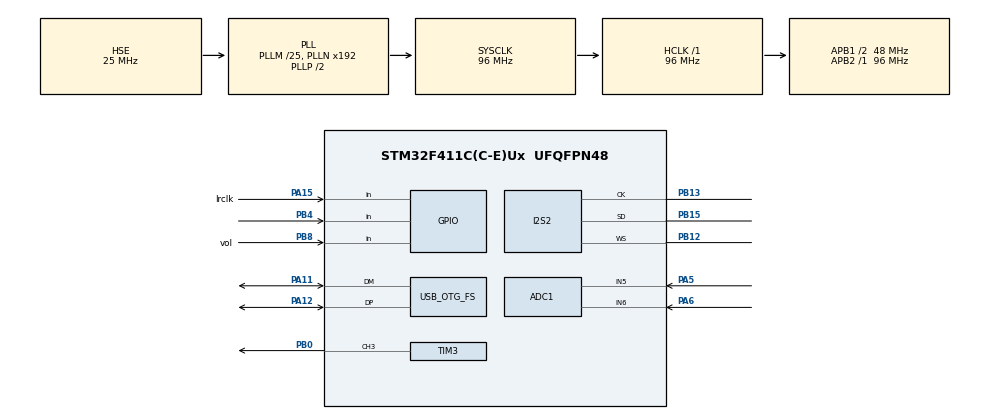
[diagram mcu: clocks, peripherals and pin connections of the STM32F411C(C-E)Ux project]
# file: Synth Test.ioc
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ADC1.Channel-10\#ChannelRegularConversion=ADC_CHANNEL_6
ADC1.Channel-8\#ChannelRegularConversion=ADC_CHANNEL_5
ADC1.ClockPrescaler=ADC_CLOCK_SYNC_PCLK_DIV4
ADC1.ContinuousConvMode=DISABLE
ADC1.DMAContinuousRequests=ENABLE
ADC1.DataAlign=ADC_DATAALIGN_RIGHT
ADC1.EOCSelection=ADC_EOC_SINGLE_CONV
ADC1.ExternalTrigConv=ADC_EXTERNALTRIGCONV_T2_TRGO
ADC1.NbrOfConversion=2
ADC1.NbrOfConversionFlag=1
ADC1.Rank-10\#ChannelRegularConversion=2
ADC1.Rank-8\#ChannelRegularConversion=1
ADC1.SamplingTime-10\#ChannelRegularConversion=ADC_SAMPLETIME_15CYCLES
ADC1.SamplingTime-8\#ChannelRegularConversion=ADC_SAMPLETIME_15CYCLES
ADC1.ScanConvMode=ENABLE
ADC1.master=1
Dma.ADC1.2.Direction=DMA_PERIPH_TO_MEMORY
Dma.ADC1.2.FIFOMode=DMA_FIFOMODE_DISABLE
Dma.ADC1.2.Instance=DMA2_Stream0
Dma.ADC1.2.MemDataAlignment=DMA_MDATAALIGN_HALFWORD
Dma.ADC1.2.MemInc=DMA_MINC_ENABLE
Dma.ADC1.2.Mode=DMA_CIRCULAR
Dma.ADC1.2.PeriphDataAlignment=DMA_PDATAALIGN_HALFWORD
Dma.ADC1.2.PeriphInc=DMA_PINC_DISABLE
Dma.ADC1.2.Priority=DMA_PRIORITY_LOW
Dma.Request0=SPI2_TX
Dma.Request1=TIM3_CH3
Dma.Request2=ADC1
Dma.SPI2_TX.0.Direction=DMA_MEMORY_TO_PERIPH
Dma.SPI2_TX.0.FIFOMode=DMA_FIFOMODE_DISABLE
Dma.SPI2_TX.0.Instance=DMA1_Stream4
Dma.SPI2_TX.0.MemDataAlignment=DMA_MDATAALIGN_HALFWORD
Dma.SPI2_TX.0.MemInc=DMA_MINC_ENABLE
Dma.SPI2_TX.0.Mode=DMA_CIRCULAR
Dma.SPI2_TX.0.PeriphDataAlignment=DMA_PDATAALIGN_HALFWORD
Dma.SPI2_TX.0.PeriphInc=DMA_PINC_DISABLE
Dma.SPI2_TX.0.Priority=DMA_PRIORITY_VERY_HIGH
Dma.TIM3_CH3.1.Direction=DMA_MEMORY_TO_PERIPH
Dma.TIM3_CH3.1.FIFOMode=DMA_FIFOMODE_DISABLE
Dma.TIM3_CH3.1.Instance=DMA1_Stream7
Dma.TIM3_CH3.1.MemDataAlignment=DMA_MDATAALIGN_HALFWORD
Dma.TIM3_CH3.1.MemInc=DMA_MINC_ENABLE
Dma.TIM3_CH3.1.Mode=DMA_CIRCULAR
Dma.TIM3_CH3.1.PeriphDataAlignment=DMA_PDATAALIGN_HALFWORD
Dma.TIM3_CH3.1.PeriphInc=DMA_PINC_DISABLE
Dma.TIM3_CH3.1.Priority=DMA_PRIORITY_HIGH
I2S2.AudioFreq=I2S_AUDIOFREQ_48K
I2S2.ErrorAudioFreq=-0.17 %
I2S2.FullDuplexMode=I2S_FULLDUPLEXMODE_DISABLE
I2S2.Instance=SPI$Index
I2S2.RealAudioFreq=47.916 KHz
I2S2.VirtualMode=I2S_MODE_MASTER
Mcu.Family=STM32F4
Mcu.Name=STM32F411C(C-E)Ux
Mcu.Package=UFQFPN48
NVIC.DMA1_Stream4_IRQn=true\:0\:0\:false\:false\:true\:false\:true\:true
NVIC.DMA1_Stream7_IRQn=true\:0\:0\:false\:false\:true\:false\:true\:true
NVIC.DMA2_Stream0_IRQn=true\:0\:0\:false\:false\:true\:false\:true\:true
NVIC.OTG_FS_IRQn=true\:0\:0\:false\:false\:true\:false\:true\:true
NVIC.PriorityGroup=NVIC_PRIORITYGROUP_4
PA11.Mode=Device_Only
PA11.Signal=USB_OTG_FS_DM
PA12.Mode=Device_Only
PA12.Signal=USB_OTG_FS_DP
PA15.GPIO_Label=lrclk
PA15.Signal=GPIO_Input
PA5.Signal=ADCx_IN5
PA6.Signal=ADCx_IN6
PB0.Signal=S_TIM3_CH3
PB12.Mode=Half_Duplex_Master
PB12.Signal=I2S2_WS
PB13.Mode=Half_Duplex_Master
PB13.Signal=I2S2_CK
PB15.Mode=Half_Duplex_Master
PB15.Signal=I2S2_SD
PB4.GPIO_PuPd=GPIO_PULLDOWN
PB4.Signal=GPIO_Input
PB8.GPIO_Label=vol
PB8.GPIO_PuPd=GPIO_PULLUP
PB8.Signal=GPIO_Input
PH0\ -\ OSC_IN.Mode=HSE-External-Oscillator
PH0\ -\ OSC_IN.Signal=RCC_OSC_IN
PH1\ -\ OSC_OUT.Mode=HSE-External-Oscillator
PH1\ -\ OSC_OUT.Signal=RCC_OSC_OUT
ProjectManager.HeapSize=0x1000
ProjectManager.StackSize=0x800
ProjectManager.TargetToolchain=STM32CubeIDE
RCC.48MHZClocksFreq_Value=48000000
RCC.AHBFreq_Value=96000000
RCC.APB1CLKDivider=RCC_HCLK_DIV2
RCC.APB1Freq_Value=48000000
RCC.APB1TimFreq_Value=96000000
RCC.APB2Freq_Value=96000000
RCC.APB2TimFreq_Value=96000000
RCC.CortexFreq_Value=96000000
RCC.HCLKFreq_Value=96000000
RCC.HSE_VALUE=25000000
RCC.HSI_VALUE=16000000
RCC.LSE_VALUE=32768
RCC.PLLI2SM=12
RCC.PLLI2SN=184
RCC.PLLM=25
RCC.SYSCLKFreq_VALUE=96000000
RCC.SYSCLKSource=RCC_SYSCLKSOURCE_PLLCLK
RCC.VCOOutputFreq_Value=192000000
SH.ADCx_IN5.0=ADC1_IN5,IN5
SH.ADCx_IN6.0=ADC1_IN6,IN6
SH.S_TIM3_CH3.0=TIM3_CH3,PWM Generation3 CH3
TIM2.AutoReloadPreload=TIM_AUTORELOAD_PRELOAD_ENABLE
TIM2.Period=59999
TIM2.Prescaler=7
TIM2.TIM_MasterOutputTrigger=TIM_TRGO_UPDATE
TIM3.AutoReloadPreload=TIM_AUTORELOAD_PRELOAD_ENABLE
TIM3.Channel-PWM\ Generation3\ CH3=TIM_CHANNEL_3
TIM3.Period=1999
TIM3.TIM_MasterOutputTrigger=TIM_TRGO_RESET
USB_DEVICE.CLASS_NAME_FS=CDC
USB_DEVICE.VirtualMode=Cdc
USB_DEVICE.VirtualModeFS=Cdc_FS
USB_OTG_FS.VirtualMode=Device_Only
VP_TIM2_VS_ClockSourceINT.Mode=Internal
VP_TIM3_VS_ClockSourceINT.Mode=Internal
VP_USB_DEVICE_VS_USB_DEVICE_CDC_FS.Mode=CDC_FS
board=custom

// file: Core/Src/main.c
/* USER CODE BEGIN Header */
/**
  ******************************************************************************
  * @file           : main.c
  * @brief          : Main program body
  ******************************************************************************
  * @attention
  *
  * Copyright (c) 2026 STMicroelectronics.
  * All rights reserved.
  *
  * This software is licensed under terms that can be found in the LICENSE file
  * in the root directory of this software component.
  * If no LICENSE file comes with this software, it is provided AS-IS.
  *
  ******************************************************************************
  */
/* USER CODE END Header */
#include "main.h"
#include "usb_device.h"

/* USER CODE BEGIN Includes */

#include <stdio.h>
#include <math.h>

#include "sine_table.h"
#include "saw_table.h"
#include "square_table.h"
#include "triangle_table.h"

#include "stm32f4xx_hal.h"
#include "usbd_cdc_if.h"

/* USER CODE END Includes */

/* USER CODE BEGIN PD */

#define PI 3.141592653589793
#define TAU 6.28318530717958647692
#define MAX_16_BIT 65535
#define MAX_16_BIT_SIDE 32767
#define MAX_32_BIT 4294967295
#define SAMPLE_FREQ 48000

#define DMA_BUFFER_SAMPLES 256
#define DMA_BUFFER_SIZE 2 * DMA_BUFFER_SAMPLES //2* accounts for double buffering

#define ADC_SIZE 2

#define A4 440
/* USER CODE END PD */

ADC_HandleTypeDef hadc1;
DMA_HandleTypeDef hdma_adc1;

I2S_HandleTypeDef hi2s2;
DMA_HandleTypeDef hdma_spi2_tx;

TIM_HandleTypeDef htim2;
TIM_HandleTypeDef htim3;
DMA_HandleTypeDef hdma_tim3_ch3;

/* USER CODE BEGIN PV */

//dma buffer used for pwm output
 uint16_t pwm_buffer[DMA_BUFFER_SIZE];

//dma buffer used for i2s output
int16_t i2s_buffer[2*DMA_BUFFER_SIZE]; //2* for left and right channels
uint8_t dma_buffer_processing = 0;
uint32_t dma_overflow = 0;

volatile float frequency = 220;
float frequency_range = 0.5; //frequency range is between the double and the half of the base frequency (A4)
float phase = 0;
float phase_change = 0;

float angle = 0;

//master volume
volatile float volume = 1;

uint16_t wavetable_index = 0; //sine table index

//potentiometer = [0], piezo = [1]
volatile uint16_t ADC_buffer[ADC_SIZE] = {0}; //ADC DMA readings go into this buffer.
volatile uint8_t ADC_id = 0;

volatile uint16_t pot_buffer[5] = {0}; //stores pot values for averaging
volatile uint8_t pot_id = 0;

volatile uint16_t piezo_buffer[5] = {0}; //stores piezo values for averaging
volatile uint8_t piezo_id = 0;

const uint8_t* wavetable_buffer[4] = {sin2048, tri2048, square2048, saw2048}; //allows for swapping between wave tables
uint8_t wavetable_id = 0;

uint32_t ADC_channels[ADC_SIZE] = {ADC_CHANNEL_5, ADC_CHANNEL_6};
ADC_ChannelConfTypeDef ADC_CH_Cfg = {0};

//used for button debouncing
uint32_t SysTicks = 0;
uint32_t T1 = 0, T2 = 0;
uint16_t Btn1_States = 0;
uint8_t TimeInterval = 3;

/* USER CODE END PV */

void SystemClock_Config(void);
static void MX_GPIO_Init(void);
static void MX_DMA_Init(void);
static void MX_I2S2_Init(void);
static void MX_TIM3_Init(void);
static void MX_ADC1_Init(void);
static void MX_TIM2_Init(void);

/* USER CODE BEGIN 0 */

int _write(int file, char *ptr, int len) {
    // Send data over USB CDC
    CDC_Transmit_FS((uint8_t*)ptr, len);

    // Optional: Add a brief delay to prevent buffer overflow on rapid prints
    HAL_Delay(1);

    return len;
}

//used for simple mean average of adc buffers
uint16_t adc_average(uint16_t* buffer, uint8_t buffer_size){

	float total = 0;
	for(int i = 0; i<buffer_size; i++){
		total += (float)buffer[i];
	}
	total = total/buffer_size;
	return total;
}

//updates the step size of phase. turns frequency input into step size.
void update_phase_change(){
	float x = (frequency/(float)SAMPLE_FREQ);
	phase_change = ( x*TAU);
}

//change volume based on piezo input
void update_volume(){
	float volAvg = (float)adc_average((uint16_t*)piezo_buffer, 5);
	volume = volAvg/4096.0;
}

//calculates new frequency value based on the pot value
void update_frequency(){

	//average 5 pot values
	float potAvg = adc_average((uint16_t*)pot_buffer, 5)/4096.0; //between 0 and 1

	//this value outputs a value between the frequency range and the reciprocal of the frequency range. allows for doubling and halving of frequency range
	float range = potAvg*frequency_range - (potAvg -1)*(1/frequency_range);

	frequency = (float)A4*range;

}

//called to update frequency, phase change, and volume of generated output
void audio_update(){
	update_frequency();
	update_phase_change();
	update_volume();
}

/*
 *THIS IS HOW PWM AND TIMERS WORK AND HOW TO CHOOSE VALUES
 *
 * There is a tradeoff between high duty cycle resolution and high pwm frequency.
 * ARR basically splits up each pwm period into however many discrete steps, which controls duty resolution
 * system and timer clock is 96MHz. ARR is incremented each clock cycle.
 * this means that the length of a pwm frequency period is ~ system clock/ARR
 * therefore increasing ARR gives more duty resolution, but makes a pwm period take longer.
 *
 * ARR = 2047, gives carrier frequency of ~46k
 * duty = CRR/(ARR+1), ARR gives duty resolution of 11 bits (2047 steps).
 *
 * duty can be between 0 and 2047. dma_buffer stores the 16 bit output values.
 *
 */

//this function generates values for the pwm_buffer, which is fed to the DMA.
//Using a double buffered approach, so pwm_buffer input is only one half of the actual pwm_buffer
//pwm output is an unsigned 32 bit int.
void process_buffer_pwm(uint16_t *pwm_buffer){
	dma_buffer_processing = 1;

	//iterate through half the buffer
	for(int i = 0; i <DMA_BUFFER_SIZE/2; i++){

		//wavetable_index = (uint16_t)(sizeof(square2048)-1)*((float)phase/(float)TAU); //phase/tau returns value between 0 and 1
		wavetable_index = (uint16_t)(2047)*((float)phase/(float)TAU); //phase/tau returns value between 0 and 1

		const uint8_t* cur_wavetable = wavetable_buffer[wavetable_id]; //changes between wavetables

		float cur_sine = (float)cur_wavetable[wavetable_index]/255; //sine as a float value 0 to 1. sine_table stored as uint8_t instead of float as cheaper to store

		//pwm duty cycle is from 1-2048. pwm_buffer values go to the CRR of the timer, which must be <= the ARR, which in this case is 2048.

		uint16_t buffer_out = (uint16_t)(volume*cur_sine*2048.0f);

		pwm_buffer[i] = buffer_out;

		phase += phase_change;
		if(phase >TAU){
			phase -=TAU;
		}
	}

	dma_buffer_processing = 0;
}

//same process as for pwm buffer, just formatted for i2s
void process_buffer_i2s(int16_t*i2s_buffer){
	dma_buffer_processing = 1;

	//left and right channels
	for(int i = 0; i < DMA_BUFFER_SAMPLES; i+=2){

		wavetable_index = (uint16_t)sizeof(sin2048)*(phase/TAU);

		float cur_sine = ((float)sin2048[wavetable_index] - 127)/128; //sine table is 0 to 255, converts to -1 to 1.

		int16_t buffer_out = (volume*cur_sine)*(float)MAX_16_BIT_SIDE; //converts to 16 bit int

		i2s_buffer[i] = buffer_out;
		i2s_buffer[i+1] = 0;//right channel not needed, mono output. I2S requires 2 channels

		phase += phase_change;
		if(phase > TAU){
			phase -= TAU;
		}

	}

	dma_buffer_processing = 0;
}

////// I2S Callback

//double buffered output
//once DMA buffer is completed, begin processing new second half while first half transmitting
void HAL_I2S_TxCpltCallback(I2S_HandleTypeDef *hi2s){
	if(dma_buffer_processing){
		++dma_overflow;
	}
	else{
		process_buffer_i2s(&i2s_buffer[DMA_BUFFER_SIZE]); //DMA_BUFFER_SIZE is halfway through i2s buffer, i2s buffer is 2*DMA_BUFFER_SIZE long
	}
}

void HAL_I2S_TxHalfCpltCallback(I2S_HandleTypeDef *hi2s) {
	if(dma_buffer_processing){
			++dma_overflow;
		}
		else{
			process_buffer_i2s(&i2s_buffer[0]);
		}
}

/////  PWM Callback

//double buffered output
//once DMA buffer is completed, begin processing new second half while first half transmitting
void HAL_TIM_PWM_PulseFinishedCallback(TIM_HandleTypeDef *htim3){
	if(dma_buffer_processing){
		++dma_overflow;
	}
	else{
		process_buffer_pwm(&pwm_buffer[DMA_BUFFER_SIZE/2]); //halfway through buffer
	}
}

void HAL_TIM_PWM_PulseFinishedHalfCpltCallback(TIM_HandleTypeDef *htim3) {
	if(dma_buffer_processing){
			++dma_overflow;
	}
	else{
		process_buffer_pwm(&pwm_buffer[0]);
	}
}

//triggers after every single channel ADC reading
void HAL_ADC_ConvCpltCallback(ADC_HandleTypeDef* hadc)
{

	//adds last 5 samples to circular buffer, allows averaging of noisy values
	pot_buffer[pot_id] = ADC_buffer[0];
	pot_id++;
	if(pot_id>=5){
		pot_id=0;
	}

	piezo_buffer[piezo_id] = ADC_buffer[1];
	piezo_id++;
	if(piezo_id>=5){
		piezo_id=0;
	}
}

//This callback is used for button press debouncing currently
void SysTick_CallBack(void)
{
    SysTicks++;
}

//button debounce function
uint8_t BtnDebounce(void)
{
  static uint16_t Btn1_States = 0;
  Btn1_States = (Btn1_States<<1) | (!HAL_GPIO_ReadPin(GPIOB, GPIO_PIN_4));
  return (Btn1_States == 0xFFF0);
}

/* USER CODE END 0 */

int main(void)
{

  /* MCU Configuration--------------------------------------------------------*/

  /* Reset of all peripherals, Initializes the Flash interface and the Systick. */
  HAL_Init();

  /* Configure the system clock */
  SystemClock_Config();

  /* Initialize all configured peripherals */
  MX_GPIO_Init();
  MX_DMA_Init();
  MX_I2S2_Init();
  MX_TIM3_Init();
  MX_ADC1_Init();
  MX_USB_DEVICE_Init();
  MX_TIM2_Init();
  /* USER CODE BEGIN 2 */

  process_buffer_pwm(&pwm_buffer[0]);                    // Fill first half
  process_buffer_pwm(&pwm_buffer[DMA_BUFFER_SIZE / 2]);  // Fill second half

  //HAL_I2S_Transmit_DMA(&hi2s2, (uint16_t*) &i2s_buffer,DMA_BUFFER_SAMPLES*2);
  HAL_TIM_PWM_Start_DMA(&htim3, TIM_CHANNEL_3, (uint32_t*) pwm_buffer, DMA_BUFFER_SIZE);
  HAL_TIM_Base_Start(&htim3); // Start Timer3 (Trigger Source For ADC1)

  HAL_ADC_Start_DMA(&hadc1, (uint32_t*)ADC_buffer, ADC_SIZE);
  HAL_TIM_Base_Start(&htim2); // Start Timer2 (Trigger Source For ADC1)

  /* USER CODE END 2 */

  /* Infinite loop */
  /* USER CODE BEGIN WHILE */

  while (1)
  {

	  T2 = SysTicks;
	  if( (T2-T1) >= TimeInterval ){
		  if(BtnDebounce())
		  {
			  //HAL_GPIO_TogglePin(LED1_GPIO, LED1_Pin); // Toggle The Output LED Pin
			  wavetable_id++;
			  if(wavetable_id >=4){
				  wavetable_id = 0;
			  }
		  }
		  T1 = SysTicks;
	  }

	  audio_update();

	  //printf("%u \r\n", ADC_buffer[0]);
	  //printf("%u \r\n\n", ADC_buffer[1]);
	 // printf("\r\n");
	  //printf("ADC_BUFFER: %u\r\n", ADC_buffer[0]);
	  //printf("%ld\r\n", frequency);

	  printf("WAVETABLE_ID %u \r\n", wavetable_id);
	  HAL_Delay(1);

    /* USER CODE END WHILE */

  }
}

void SystemClock_Config(void)
{
  RCC_OscInitTypeDef RCC_OscInitStruct = {0};
  RCC_ClkInitTypeDef RCC_ClkInitStruct = {0};

  /** Configure the main internal regulator output voltage
  */
  __HAL_RCC_PWR_CLK_ENABLE();
  __HAL_PWR_VOLTAGESCALING_CONFIG(PWR_REGULATOR_VOLTAGE_SCALE1);

  /** Initializes the RCC Oscillators according to the specified parameters
  * in the RCC_OscInitTypeDef structure.
  */
  RCC_OscInitStruct.OscillatorType = RCC_OSCILLATORTYPE_HSE;
  RCC_OscInitStruct.HSEState = RCC_HSE_ON;
  RCC_OscInitStruct.PLL.PLLState = RCC_PLL_ON;
  RCC_OscInitStruct.PLL.PLLSource = RCC_PLLSOURCE_HSE;
  RCC_OscInitStruct.PLL.PLLM = 25;
  RCC_OscInitStruct.PLL.PLLN = 192;
  RCC_OscInitStruct.PLL.PLLP = RCC_PLLP_DIV2;
  RCC_OscInitStruct.PLL.PLLQ = 4;
  if (HAL_RCC_OscConfig(&RCC_OscInitStruct) != HAL_OK)
  {
    Error_Handler();
  }

  /** Initializes the CPU, AHB and APB buses clocks
  */
  RCC_ClkInitStruct.ClockType = RCC_CLOCKTYPE_HCLK|RCC_CLOCKTYPE_SYSCLK
                              |RCC_CLOCKTYPE_PCLK1|RCC_CLOCKTYPE_PCLK2;
  RCC_ClkInitStruct.SYSCLKSource = RCC_SYSCLKSOURCE_PLLCLK;
  RCC_ClkInitStruct.AHBCLKDivider = RCC_SYSCLK_DIV1;
  RCC_ClkInitStruct.APB1CLKDivider = RCC_HCLK_DIV2;
  RCC_ClkInitStruct.APB2CLKDivider = RCC_HCLK_DIV1;

  if (HAL_RCC_ClockConfig(&RCC_ClkInitStruct, FLASH_LATENCY_3) != HAL_OK)
  {
    Error_Handler();
  }
}

static void MX_ADC1_Init(void)
{

  ADC_ChannelConfTypeDef sConfig = {0};

  /** Configure the global features of the ADC (Clock, Resolution, Data Alignment and number of conversion)
  */
  hadc1.Instance = ADC1;
  hadc1.Init.ClockPrescaler = ADC_CLOCK_SYNC_PCLK_DIV4;
  hadc1.Init.Resolution = ADC_RESOLUTION_12B;
  hadc1.Init.ScanConvMode = ENABLE;
  hadc1.Init.ContinuousConvMode = DISABLE;
  hadc1.Init.DiscontinuousConvMode = DISABLE;
  hadc1.Init.ExternalTrigConvEdge = ADC_EXTERNALTRIGCONVEDGE_RISING;
  hadc1.Init.ExternalTrigConv = ADC_EXTERNALTRIGCONV_T2_TRGO;
  hadc1.Init.DataAlign = ADC_DATAALIGN_RIGHT;
  hadc1.Init.NbrOfConversion = 2;
  hadc1.Init.DMAContinuousRequests = ENABLE;
  hadc1.Init.EOCSelection = ADC_EOC_SINGLE_CONV;
  if (HAL_ADC_Init(&hadc1) != HAL_OK)
  {
    Error_Handler();
  }

  /** Configure for the selected ADC regular channel its corresponding rank in the sequencer and its sample time.
  */
  sConfig.Channel = ADC_CHANNEL_5;
  sConfig.Rank = 1;
  sConfig.SamplingTime = ADC_SAMPLETIME_15CYCLES;
  if (HAL_ADC_ConfigChannel(&hadc1, &sConfig) != HAL_OK)
  {
    Error_Handler();
  }

  /** Configure for the selected ADC regular channel its corresponding rank in the sequencer and its sample time.
  */
  sConfig.Channel = ADC_CHANNEL_6;
  sConfig.Rank = 2;
  if (HAL_ADC_ConfigChannel(&hadc1, &sConfig) != HAL_OK)
  {
    Error_Handler();
  }

}

static void MX_I2S2_Init(void)
{

  hi2s2.Instance = SPI2;
  hi2s2.Init.Mode = I2S_MODE_MASTER_TX;
  hi2s2.Init.Standard = I2S_STANDARD_PHILIPS;
  hi2s2.Init.DataFormat = I2S_DATAFORMAT_16B;
  hi2s2.Init.MCLKOutput = I2S_MCLKOUTPUT_DISABLE;
  hi2s2.Init.AudioFreq = I2S_AUDIOFREQ_48K;
  hi2s2.Init.CPOL = I2S_CPOL_LOW;
  hi2s2.Init.ClockSource = I2S_CLOCK_PLL;
  hi2s2.Init.FullDuplexMode = I2S_FULLDUPLEXMODE_DISABLE;
  if (HAL_I2S_Init(&hi2s2) != HAL_OK)
  {
    Error_Handler();
  }

}

static void MX_TIM2_Init(void)
{

  TIM_ClockConfigTypeDef sClockSourceConfig = {0};
  TIM_MasterConfigTypeDef sMasterConfig = {0};

  htim2.Instance = TIM2;
  htim2.Init.Prescaler = 7;
  htim2.Init.CounterMode = TIM_COUNTERMODE_UP;
  htim2.Init.Period = 59999;
  htim2.Init.ClockDivision = TIM_CLOCKDIVISION_DIV1;
  htim2.Init.AutoReloadPreload = TIM_AUTORELOAD_PRELOAD_ENABLE;
  if (HAL_TIM_Base_Init(&htim2) != HAL_OK)
  {
    Error_Handler();
  }
  sClockSourceConfig.ClockSource = TIM_CLOCKSOURCE_INTERNAL;
  if (HAL_TIM_ConfigClockSource(&htim2, &sClockSourceConfig) != HAL_OK)
  {
    Error_Handler();
  }
  sMasterConfig.MasterOutputTrigger = TIM_TRGO_UPDATE;
  sMasterConfig.MasterSlaveMode = TIM_MASTERSLAVEMODE_DISABLE;
  if (HAL_TIMEx_MasterConfigSynchronization(&htim2, &sMasterConfig) != HAL_OK)
  {
    Error_Handler();
  }

}

static void MX_TIM3_Init(void)
{

  TIM_ClockConfigTypeDef sClockSourceConfig = {0};
  TIM_MasterConfigTypeDef sMasterConfig = {0};
  TIM_OC_InitTypeDef sConfigOC = {0};

  htim3.Instance = TIM3;
  htim3.Init.Prescaler = 0;
  htim3.Init.CounterMode = TIM_COUNTERMODE_UP;
  htim3.Init.Period = 1999;
  htim3.Init.ClockDivision = TIM_CLOCKDIVISION_DIV1;
  htim3.Init.AutoReloadPreload = TIM_AUTORELOAD_PRELOAD_ENABLE;
  if (HAL_TIM_Base_Init(&htim3) != HAL_OK)
  {
    Error_Handler();
  }
  sClockSourceConfig.ClockSource = TIM_CLOCKSOURCE_INTERNAL;
  if (HAL_TIM_ConfigClockSource(&htim3, &sClockSourceConfig) != HAL_OK)
  {
    Error_Handler();
  }
  if (HAL_TIM_PWM_Init(&htim3) != HAL_OK)
  {
    Error_Handler();
  }
  sMasterConfig.MasterOutputTrigger = TIM_TRGO_RESET;
  sMasterConfig.MasterSlaveMode = TIM_MASTERSLAVEMODE_DISABLE;
  if (HAL_TIMEx_MasterConfigSynchronization(&htim3, &sMasterConfig) != HAL_OK)
  {
    Error_Handler();
  }
  sConfigOC.OCMode = TIM_OCMODE_PWM1;
  sConfigOC.Pulse = 0;
  sConfigOC.OCPolarity = TIM_OCPOLARITY_HIGH;
  sConfigOC.OCFastMode = TIM_OCFAST_DISABLE;
  if (HAL_TIM_PWM_ConfigChannel(&htim3, &sConfigOC, TIM_CHANNEL_3) != HAL_OK)
  {
    Error_Handler();
  }
  HAL_TIM_MspPostInit(&htim3);

}

static void MX_DMA_Init(void)
{

  /* DMA controller clock enable */
  __HAL_RCC_DMA1_CLK_ENABLE();
  __HAL_RCC_DMA2_CLK_ENABLE();

  /* DMA interrupt init */
  /* DMA1_Stream4_IRQn interrupt configuration */
  HAL_NVIC_SetPriority(DMA1_Stream4_IRQn, 0, 0);
  HAL_NVIC_EnableIRQ(DMA1_Stream4_IRQn);
  /* DMA1_Stream7_IRQn interrupt configuration */
  HAL_NVIC_SetPriority(DMA1_Stream7_IRQn, 0, 0);
  HAL_NVIC_EnableIRQ(DMA1_Stream7_IRQn);
  /* DMA2_Stream0_IRQn interrupt configuration */
  HAL_NVIC_SetPriority(DMA2_Stream0_IRQn, 0, 0);
  HAL_NVIC_EnableIRQ(DMA2_Stream0_IRQn);

}

static void MX_GPIO_Init(void)
{
  GPIO_InitTypeDef GPIO_InitStruct = {0};

  /* GPIO Ports Clock Enable */
  __HAL_RCC_GPIOH_CLK_ENABLE();
  __HAL_RCC_GPIOA_CLK_ENABLE();
  __HAL_RCC_GPIOB_CLK_ENABLE();

  /*Configure GPIO pin : lrclk_Pin */
  GPIO_InitStruct.Pin = lrclk_Pin;
  GPIO_InitStruct.Mode = GPIO_MODE_INPUT;
  GPIO_InitStruct.Pull = GPIO_NOPULL;
  HAL_GPIO_Init(lrclk_GPIO_Port, &GPIO_InitStruct);

  /*Configure GPIO pin : PB4 */
  GPIO_InitStruct.Pin = GPIO_PIN_4;
  GPIO_InitStruct.Mode = GPIO_MODE_INPUT;
  GPIO_InitStruct.Pull = GPIO_PULLDOWN;
  HAL_GPIO_Init(GPIOB, &GPIO_InitStruct);

  /*Configure GPIO pin : vol_Pin */
  GPIO_InitStruct.Pin = vol_Pin;
  GPIO_InitStruct.Mode = GPIO_MODE_INPUT;
  GPIO_InitStruct.Pull = GPIO_PULLUP;
  HAL_GPIO_Init(vol_GPIO_Port, &GPIO_InitStruct);

}

void Error_Handler(void)
{
  __disable_irq();
  while (1)
  {
  }
}
